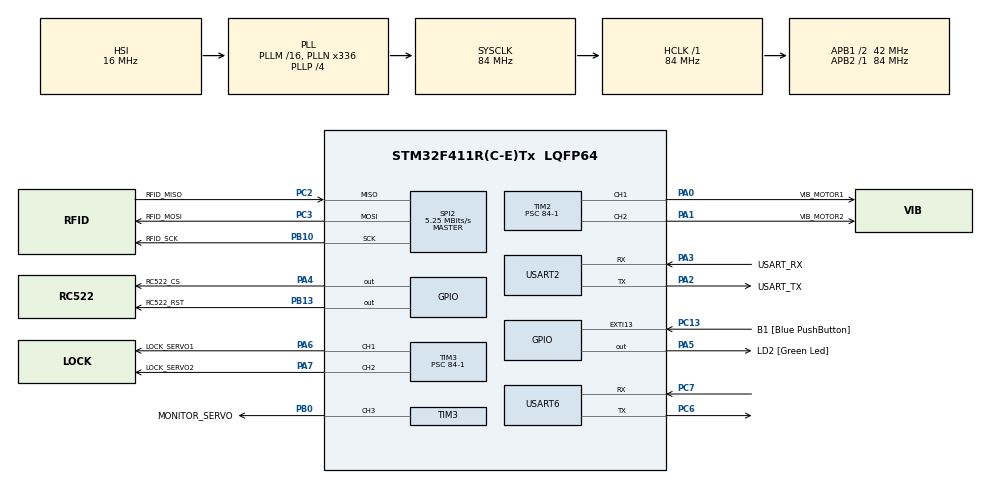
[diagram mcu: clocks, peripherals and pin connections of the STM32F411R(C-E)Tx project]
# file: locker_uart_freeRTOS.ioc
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Dma.Request0=USART6_RX
Dma.Request1=USART6_TX
Dma.USART6_RX.0.Direction=DMA_PERIPH_TO_MEMORY
Dma.USART6_RX.0.FIFOMode=DMA_FIFOMODE_DISABLE
Dma.USART6_RX.0.Instance=DMA2_Stream1
Dma.USART6_RX.0.MemDataAlignment=DMA_MDATAALIGN_BYTE
Dma.USART6_RX.0.MemInc=DMA_MINC_ENABLE
Dma.USART6_RX.0.Mode=DMA_NORMAL
Dma.USART6_RX.0.PeriphDataAlignment=DMA_PDATAALIGN_BYTE
Dma.USART6_RX.0.PeriphInc=DMA_PINC_DISABLE
Dma.USART6_RX.0.Priority=DMA_PRIORITY_LOW
Dma.USART6_TX.1.Direction=DMA_MEMORY_TO_PERIPH
Dma.USART6_TX.1.FIFOMode=DMA_FIFOMODE_DISABLE
Dma.USART6_TX.1.Instance=DMA2_Stream6
Dma.USART6_TX.1.MemDataAlignment=DMA_MDATAALIGN_BYTE
Dma.USART6_TX.1.MemInc=DMA_MINC_ENABLE
Dma.USART6_TX.1.Mode=DMA_NORMAL
Dma.USART6_TX.1.PeriphDataAlignment=DMA_PDATAALIGN_BYTE
Dma.USART6_TX.1.PeriphInc=DMA_PINC_DISABLE
Dma.USART6_TX.1.Priority=DMA_PRIORITY_LOW
FREERTOS.Events01=vibEvent,Dynamic,NULL;posEvent,Dynamic,NULL
FREERTOS.Queues01=uartQueue,16,256,1,Dynamic,NULL,NULL
FREERTOS.Tasks01=UartTask,24,256,StartUartTask,Default,NULL,Dynamic,NULL,NULL;RfidTask,24,128,StartRfidTask,Default,NULL,Dynamic,NULL,NULL;VibTask,8,128,StartVibTask,Default,NULL,Dynamic,NULL,NULL;PostureTask,8,128,StartPostureTask,Default,NULL,Dynamic,NULL,NULL
FREERTOS.configUSE_NEWLIB_REENTRANT=1
Mcu.Family=STM32F4
Mcu.Name=STM32F411R(C-E)Tx
Mcu.Package=LQFP64
NVIC.DMA2_Stream1_IRQn=true\:5\:0\:false\:false\:true\:true\:false\:true\:true
NVIC.DMA2_Stream6_IRQn=true\:5\:0\:false\:false\:true\:true\:false\:true\:true
NVIC.PriorityGroup=NVIC_PRIORITYGROUP_4
NVIC.TIM1_UP_TIM10_IRQn=true\:15\:0\:false\:false\:true\:false\:false\:true\:true
NVIC.TimeBase=TIM1_UP_TIM10_IRQn
NVIC.TimeBaseIP=TIM10
NVIC.USART6_IRQn=true\:5\:0\:false\:false\:true\:true\:true\:true\:true
PA0-WKUP.GPIO_Label=VIB_MOTOR1
PA0-WKUP.Signal=S_TIM2_CH1_ETR
PA1.GPIO_Label=VIB_MOTOR2
PA1.Signal=S_TIM2_CH2
PA13.GPIO_Label=TMS
PA13.Mode=Serial_Wire
PA13.Signal=SYS_JTMS-SWDIO
PA14.GPIO_Label=TCK
PA14.Mode=Serial_Wire
PA14.Signal=SYS_JTCK-SWCLK
PA2.GPIO_Label=USART_TX
PA2.Mode=Asynchronous
PA2.Signal=USART2_TX
PA3.GPIO_Label=USART_RX
PA3.Mode=Asynchronous
PA3.Signal=USART2_RX
PA4.GPIO_Label=RC522_CS
PA4.Signal=GPIO_Output
PA5.GPIO_Label=LD2 [Green Led]
PA5.Signal=GPIO_Output
PA6.GPIO_Label=LOCK_SERVO1
PA6.Signal=S_TIM3_CH1
PA7.GPIO_Label=LOCK_SERVO2
PA7.Signal=S_TIM3_CH2
PB0.GPIO_Label=MONITOR_SERVO
PB0.Signal=S_TIM3_CH3
PB10.GPIO_Label=RFID_SCK
PB10.Mode=Full_Duplex_Master
PB10.Signal=SPI2_SCK
PB13.GPIO_Label=RC522_RST
PB13.Signal=GPIO_Output
PB3.GPIO_Label=SWO
PB3.Signal=SYS_JTDO-SWO
PC13-ANTI_TAMP.GPIO_Label=B1 [Blue PushButton]
PC13-ANTI_TAMP.GPIO_ModeDefaultEXTI=GPIO_MODE_IT_FALLING
PC13-ANTI_TAMP.Signal=GPXTI13
PC14-OSC32_IN.Signal=RCC_OSC32_IN
PC15-OSC32_OUT.Signal=RCC_OSC32_OUT
PC2.GPIO_Label=RFID_MISO
PC2.Mode=Full_Duplex_Master
PC2.Signal=SPI2_MISO
PC3.GPIO_Label=RFID_MOSI
PC3.Mode=Full_Duplex_Master
PC3.Signal=SPI2_MOSI
PC6.Mode=Asynchronous
PC6.Signal=USART6_TX
PC7.Mode=Asynchronous
PC7.Signal=USART6_RX
PH0\ -\ OSC_IN.Signal=RCC_OSC_IN
PH1\ -\ OSC_OUT.Signal=RCC_OSC_OUT
ProjectManager.HeapSize=0x200
ProjectManager.StackSize=0x400
ProjectManager.TargetToolchain=STM32CubeIDE
RCC.48MHZClocksFreq_Value=84000000
RCC.AHBFreq_Value=84000000
RCC.APB1CLKDivider=RCC_HCLK_DIV2
RCC.APB1Freq_Value=42000000
RCC.APB1TimFreq_Value=84000000
RCC.APB2Freq_Value=84000000
RCC.APB2TimFreq_Value=84000000
RCC.CortexFreq_Value=84000000
RCC.FLatency-AdvancedSettings=FLASH_LATENCY_2
RCC.HCLKFreq_Value=84000000
RCC.HSE_VALUE=8000000
RCC.HSI_VALUE=16000000
RCC.LSE_VALUE=32768
RCC.PLLN=336
RCC.PLLP=RCC_PLLP_DIV4
RCC.SYSCLKFreq_VALUE=84000000
RCC.SYSCLKSource=RCC_SYSCLKSOURCE_PLLCLK
RCC.VCOOutputFreq_Value=336000000
SH.S_TIM2_CH1_ETR.0=TIM2_CH1,PWM Generation1 CH1
SH.S_TIM2_CH2.0=TIM2_CH2,PWM Generation2 CH2
SH.S_TIM3_CH1.0=TIM3_CH1,PWM Generation1 CH1
SH.S_TIM3_CH2.0=TIM3_CH2,PWM Generation2 CH2
SH.S_TIM3_CH3.0=TIM3_CH3,PWM Generation3 CH3
SPI2.BaudRatePrescaler=SPI_BAUDRATEPRESCALER_8
SPI2.CalculateBaudRate=5.25 MBits/s
SPI2.Direction=SPI_DIRECTION_2LINES
SPI2.Mode=SPI_MODE_MASTER
SPI2.VirtualType=VM_MASTER
TIM2.Channel-PWM\ Generation1\ CH1=TIM_CHANNEL_1
TIM2.Channel-PWM\ Generation2\ CH2=TIM_CHANNEL_2
TIM2.Period=1000-1
TIM2.Prescaler=84-1
TIM3.Channel-PWM\ Generation1\ CH1=TIM_CHANNEL_1
TIM3.Channel-PWM\ Generation2\ CH2=TIM_CHANNEL_2
TIM3.Channel-PWM\ Generation3\ CH3=TIM_CHANNEL_3
TIM3.Period=20000-1
TIM3.Prescaler=84-1
USART2.VirtualMode=VM_ASYNC
USART6.VirtualMode=VM_ASYNC
VP_FREERTOS_VS_CMSIS_V2.Mode=CMSIS_V2
VP_SYS_VS_tim10.Mode=TIM10
board=NUCLEO-F411RE

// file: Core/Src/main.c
/* USER CODE BEGIN Header */
/**
  ******************************************************************************
  * @file           : main.c
  * @brief          : Main program body
  ******************************************************************************
  * @attention
  *
  * Copyright (c) 2025 STMicroelectronics.
  * All rights reserved.
  *
  * This software is licensed under terms that can be found in the LICENSE file
  * in the root directory of this software component.
  * If no LICENSE file comes with this software, it is provided AS-IS.
  *
  ******************************************************************************
  */
/* USER CODE END Header */
#include "main.h"
#include "cmsis_os.h"

/* USER CODE BEGIN Includes */
#include <stdio.h>
#include <string.h>
#include "mfrc522.h"

/* USER CODE END Includes */

/* USER CODE BEGIN PD */
#ifdef __GNUC__
/* With GCC, small printf (option LD Linker->Libraries->Small printf
   set to 'Yes') calls __io_putchar() */
#define PUTCHAR_PROTOTYPE int __io_putchar(int ch)
#else
#define PUTCHAR_PROTOTYPE int fputc(int ch, FILE *f)
#endif /* __GNUC__ */

/* USER CODE END PD */

SPI_HandleTypeDef hspi2;

TIM_HandleTypeDef htim2;
TIM_HandleTypeDef htim3;

UART_HandleTypeDef huart2;
UART_HandleTypeDef huart6;
DMA_HandleTypeDef hdma_usart6_rx;
DMA_HandleTypeDef hdma_usart6_tx;

/* Definitions for UartTask */
osThreadId_t UartTaskHandle;
const osThreadAttr_t UartTask_attributes = {
  .name = "UartTask",
  .stack_size = 256 * 4,
  .priority = (osPriority_t) osPriorityNormal,
};
/* Definitions for RfidTask */
osThreadId_t RfidTaskHandle;
const osThreadAttr_t RfidTask_attributes = {
  .name = "RfidTask",
  .stack_size = 128 * 4,
  .priority = (osPriority_t) osPriorityNormal,
};
/* Definitions for VibTask */
osThreadId_t VibTaskHandle;
const osThreadAttr_t VibTask_attributes = {
  .name = "VibTask",
  .stack_size = 128 * 4,
  .priority = (osPriority_t) osPriorityLow,
};
/* Definitions for PostureTask */
osThreadId_t PostureTaskHandle;
const osThreadAttr_t PostureTask_attributes = {
  .name = "PostureTask",
  .stack_size = 128 * 4,
  .priority = (osPriority_t) osPriorityLow,
};
/* Definitions for uartQueue */
osMessageQueueId_t uartQueueHandle;
const osMessageQueueAttr_t uartQueue_attributes = {
  .name = "uartQueue"
};
/* Definitions for vibEvent */
osEventFlagsId_t vibEventHandle;
const osEventFlagsAttr_t vibEvent_attributes = {
  .name = "vibEvent"
};
/* Definitions for posEvent */
osEventFlagsId_t posEventHandle;
const osEventFlagsAttr_t posEvent_attributes = {
  .name = "posEvent"
};
/* USER CODE BEGIN PV */
#define RX_BUF_SIZE 256
#define TX_BUF_SIZE 256
#define ARR_CNT 4

#define VIB_ON (0x01U)

#define POSTURE_BAD (0x01U)
#define POSTURE_OK (0x02U)

uint8_t rxBuf[RX_BUF_SIZE];

volatile uint8_t rx_ch;
volatile uint8_t rx_index;
uint8_t uart6_flag = 0;
uint8_t uart6_rx_len = 0;
volatile uint8_t vib_flag = 0;	// 진동 기능 flag
volatile uint8_t vib_repeat = 0;	// 패턴 반복 횟수
static volatile uint8_t old = 0;
char msg_temp[RX_BUF_SIZE];
char* msg = msg_temp;

// RFID
uint8_t cardID[5];
char uid_str[16];
static volatile int authentication_flag = 0;
static volatile int auth_start_time = -1; // 인증 시작 시점의 tim3Sec 저장
static uint8_t card_present = 0;

//uint8_t status;
//uint8_t str[16];
uint8_t sNum[5];

char uid_msg[TX_BUF_SIZE];

/* USER CODE END PV */

void SystemClock_Config(void);
static void MX_GPIO_Init(void);
static void MX_DMA_Init(void);
static void MX_USART2_UART_Init(void);
static void MX_USART6_UART_Init(void);
static void MX_TIM3_Init(void);
static void MX_TIM2_Init(void);
static void MX_SPI2_Init(void);
void StartUartTask(void *argument);
void StartRfidTask(void *argument);
void StartVibTask(void *argument);
void StartPostureTask(void *argument);

/* USER CODE BEGIN PFP */
void processMessage(char *msg);
void servo_unlock(void);
void servo_lock(void);
void send_status(const char *status);
void Motor_SetDutyPercent(uint8_t percent);
int Vib_PulsePattern(void);
void servo_setAngle(uint8_t angle);

/* USER CODE END PFP */

/* USER CODE BEGIN 0 */

/* 들어오는 메시지 처리 */
void processMessage(char* msg)
{
#if 1
	/*=== 문자열 파싱 ===*/
	int i = 0;
	char * pToken;
	char * pArray[ARR_CNT]={0};

	printf("Original Received : %s\r\n", msg);

	pToken = strtok(msg,":");
	while(pToken != NULL)
	{
	    pArray[i] = pToken;
	    if(++i >= ARR_CNT)
	      break;
	    pToken = strtok(NULL,":");
	}
	if(!strcmp(pArray[2],"DRAWER"))
	{
	 	if(!strcmp(pArray[3],"UNLOCK"))
	  	{
	  		printf(">>>>>debug : unlock\r\n");
			servo_unlock();		// 서랍 잠금해제
			send_status("unlocked success\n");	// 상태 회신 : 잠금해제 성공
	  	}
		else if(!strcmp(pArray[3],"LOCK"))
		{
			printf(">>>>>debug : lock\r\n");
			servo_lock();		// 서랍 잠금
			send_status("locked success\n");	// 상태 회신 : 잠금 성공
		}
	}
	if(!strcmp(pArray[2],"SLP"))
	{
	 	if(!strcmp(pArray[3],"ON"))
	  	{
	  		printf(">>>>>debug : sleeping \r\n");
		    osEventFlagsSet(vibEventHandle, VIB_ON);	// vibEventHandle에 VIB_ON 이벤트 발생
	  	}
		else if(!strcmp(pArray[3],"OFF"))
		{
			printf(">>>>>debug : No sleeping \r\n");
		}
	}
	if(!strcmp(pArray[2],"POSTURE"))
	{
	 	if(!strcmp(pArray[3],"BAD"))
	  	{
	  		printf(">>>>>debug : bad posture \r\n");
	  		printf("Running monitor tilt...\r\n");
	  		osEventFlagsSet(posEventHandle, POSTURE_BAD);	// posEventHandle에 POSTURE_BAD 이벤트 발생
	  	}
		else if(!strcmp(pArray[3],"OK"))
		{
			printf(">>>>>debug : good posture \r\n");
			printf("Running monitor reset...\r\n");
			osEventFlagsSet(posEventHandle, POSTURE_OK);	// posEventHandle에 POSTURE_OK 이벤트 발생
		}
	}
#endif
#if 0
	if(strcmp(msg, "unlock") == 0)
	{
		servo_unlock();		// 서랍 잠금해제
		send_status("unlocked success\n");	// 상태 회신 : 잠금해제 성공
	}
	else if(strcmp(msg, "lock") == 0)
	{
		servo_lock();		// 서랍 잠금
		send_status("locked success\n");	// 상태 회신 : 잠금 성공
	}
	else if(strcmp(msg, "sleeping") == 0)
	{
	    printf("Running Vibration...\r\n");
	    osEventFlagsSet(vibEventHandle, VIB_ON);	// vibEventHandle에 VIB_ON 이벤트 발생
	}

	else if(strcmp(msg, "2") == 0)		// 좋은 자세일 때
	{
		printf("Running monitor reset...\r\n");
		osEventFlagsSet(posEventHandle, POSTURE_OK);	// posEventHandle에 POSTURE_OK 이벤트 발생
	}

	else if(strcmp(msg, "1") == 0)		// 나쁜 자세일 때
	{
		printf("Running monitor tilt...\r\n");
		osEventFlagsSet(posEventHandle, POSTURE_BAD);	// posEventHandle에 POSTURE_BAD 이벤트 발생
	}
	else
	{
		printf(">>> unknown \r\n");
	}
#endif
}

/* 메시지 전송 */
void send_status(const char *status)
{
	HAL_UART_Transmit(&huart6, (uint8_t*)status, strlen(status), HAL_MAX_DELAY);
}

/*================== 잠금서랍 기능 ==================*/
void servo_unlock(void)
{
	// PWM 제어 코드 (0 도)
	__HAL_TIM_SET_COMPARE(&htim3, TIM_CHANNEL_1, 500);	// 0도
	__HAL_TIM_SET_COMPARE(&htim3, TIM_CHANNEL_2, 1500);	// 90도
	printf("0도\r\n");

}

void servo_lock(void)
{
	// PWM 제어 코드 ( 90 도)
	__HAL_TIM_SET_COMPARE(&htim3, TIM_CHANNEL_1, 1500);	// 90도
	__HAL_TIM_SET_COMPARE(&htim3, TIM_CHANNEL_2, 500);	// 0도
	printf("90도\r\n");
}

/*================== 졸음 진동 기능 ==================*/
// 모터 듀티 설정 (percent 0~100)
void Motor_SetDutyPercent(uint8_t percent) {
    if (percent > 100) percent = 100;
    uint32_t arr = __HAL_TIM_GET_AUTORELOAD(&htim2); // 499
    uint32_t ccr = (arr + 1) * percent / 100;
    __HAL_TIM_SET_COMPARE(&htim2, TIM_CHANNEL_1, ccr);
    __HAL_TIM_SET_COMPARE(&htim2, TIM_CHANNEL_2, ccr);
}

// 진동 패턴 구현
#if 0
int Vib_PulsePattern(void) {
	static uint32_t last_tick = 0;
	static int state = 0;
	static int pulse_count = 0;

	uint32_t now = HAL_GetTick();

	switch(state)
	{
		case 0:		// 모터 on
			Motor_SetDutyPercent(70);	// 70%로 모터 동작
			last_tick = now;	// 현재 시간을 저장
			pulse_count = 0;	// 강약 반복 횟수
			state = 1;
			break;
		case 1:		// on 500ms -> off
			if(now - last_tick >= 500)	// 500ms 넘어가면
			{
				Motor_SetDutyPercent(0);	// 0%로 모터 동작
				last_tick = now;
				state = 2;
			}
			break;
		case 2:		// off 300 ms -> on
		{
			if(now - last_tick >= 300)	// 300ms 넘어가면
			{
				pulse_count++;
				if(pulse_count < 3)
				{
					Motor_SetDutyPercent(50);	// 50%로 모터 동작
					last_tick = now;
					state = 1;
				}
				else		// 강약 반복 3번 넘어가면
				{
					state = 0;
					return 1;
				}
			}
			break;
		}
	}
	return 0;

//    for (int i=0;i<3;i++) {
//        Motor_SetDutyPercent(50); HAL_Delay(500);
//        Motor_SetDutyPercent(0);  HAL_Delay(100);
//    }
}
#endif

/*================== 모니터 조절 기능 ==================*/
void servo_setAngle(uint8_t angle)
{
    /* angle: 0~180 범위 */
    if (angle > 180) angle = 180;

    /*
     * PWM 주기 설정값
     * PSC = 84-1, ARR = 20000-1 → 1 tick = 1 us, 주기 = 20 ms (50Hz)
     * Servo: 0도 ≈ 1ms 펄스, 180도 ≈ 2ms 펄스
     * 즉, CCR = 1000 ~ 2000 (us 단위)
     */
    uint16_t pulse = 1000 + ((angle * 1000) / 180);

    __HAL_TIM_SET_COMPARE(&htim3, TIM_CHANNEL_3, pulse);
}

/* USER CODE END 0 */

int main(void)
{

  /* USER CODE BEGIN 1 */
//	uint8_t status;
//	uint8_t str[16];

  /* USER CODE END 1 */

  /* MCU Configuration--------------------------------------------------------*/

  /* Reset of all peripherals, Initializes the Flash interface and the Systick. */
  HAL_Init();

  /* Configure the system clock */
  SystemClock_Config();

  /* Initialize all configured peripherals */
  MX_GPIO_Init();
  MX_DMA_Init();
  MX_USART2_UART_Init();
  MX_USART6_UART_Init();
  MX_TIM3_Init();
  MX_TIM2_Init();
  MX_SPI2_Init();
  /* USER CODE BEGIN 2 */
  printf("main start()!!\r\n");

  if(HAL_TIM_PWM_Start(&htim3, TIM_CHANNEL_1) != HAL_OK)
	  Error_Handler();
  if(HAL_TIM_PWM_Start(&htim3, TIM_CHANNEL_2) != HAL_OK)
	  Error_Handler();
  if(HAL_TIM_PWM_Start(&htim3, TIM_CHANNEL_3) != HAL_OK)
	  Error_Handler();
  if(HAL_TIM_PWM_Start(&htim2, TIM_CHANNEL_1) != HAL_OK)
	  Error_Handler();
  if(HAL_TIM_PWM_Start(&htim2, TIM_CHANNEL_2) != HAL_OK)
	  Error_Handler();

  /*=== 인터럽트 방식 ===*/
//  HAL_UART_Receive_IT(&huart6, (uint8_t*)&rx_ch, 1);

  /*=== DMA 방식 ===*/
//  __HAL_UART_ENABLE_IT(&huart6, UART_IT_IDLE);	// IDLE 인터럽트 활성화
//  HAL_UART_Receive_DMA(&huart6, (uint8_t*)rxBuf, RX_BUF_SIZE);
// 	-> 옛날 방식

  HAL_UARTEx_ReceiveToIdle_DMA(&huart6, rxBuf, RX_BUF_SIZE);

  /*=== RFID ===*/
	MFRC522_Init();                               // RC522 초기화

  /* USER CODE END 2 */

  /* Init scheduler */
  osKernelInitialize();

  /* Create the queue(s) */
  /* creation of uartQueue */
  uartQueueHandle = osMessageQueueNew (16, 256, &uartQueue_attributes);

  /* Create the thread(s) */
  /* creation of UartTask */
  UartTaskHandle = osThreadNew(StartUartTask, NULL, &UartTask_attributes);

  /* creation of RfidTask */
  RfidTaskHandle = osThreadNew(StartRfidTask, NULL, &RfidTask_attributes);

  /* creation of VibTask */
  VibTaskHandle = osThreadNew(StartVibTask, NULL, &VibTask_attributes);

  /* creation of PostureTask */
  PostureTaskHandle = osThreadNew(StartPostureTask, NULL, &PostureTask_attributes);

  /* Create the event(s) */
  /* creation of vibEvent */
  vibEventHandle = osEventFlagsNew(&vibEvent_attributes);

  /* creation of posEvent */
  posEventHandle = osEventFlagsNew(&posEvent_attributes);

  /* Start scheduler */
  osKernelStart();

  /* We should never get here as control is now taken by the scheduler */

  /* Infinite loop */
  while (1)
  {
  }
}

void SystemClock_Config(void)
{
  RCC_OscInitTypeDef RCC_OscInitStruct = {0};
  RCC_ClkInitTypeDef RCC_ClkInitStruct = {0};

  /** Configure the main internal regulator output voltage
  */
  __HAL_RCC_PWR_CLK_ENABLE();
  __HAL_PWR_VOLTAGESCALING_CONFIG(PWR_REGULATOR_VOLTAGE_SCALE1);

  /** Initializes the RCC Oscillators according to the specified parameters
  * in the RCC_OscInitTypeDef structure.
  */
  RCC_OscInitStruct.OscillatorType = RCC_OSCILLATORTYPE_HSI;
  RCC_OscInitStruct.HSIState = RCC_HSI_ON;
  RCC_OscInitStruct.HSICalibrationValue = RCC_HSICALIBRATION_DEFAULT;
  RCC_OscInitStruct.PLL.PLLState = RCC_PLL_ON;
  RCC_OscInitStruct.PLL.PLLSource = RCC_PLLSOURCE_HSI;
  RCC_OscInitStruct.PLL.PLLM = 16;
  RCC_OscInitStruct.PLL.PLLN = 336;
  RCC_OscInitStruct.PLL.PLLP = RCC_PLLP_DIV4;
  RCC_OscInitStruct.PLL.PLLQ = 4;
  if (HAL_RCC_OscConfig(&RCC_OscInitStruct) != HAL_OK)
  {
    Error_Handler();
  }

  /** Initializes the CPU, AHB and APB buses clocks
  */
  RCC_ClkInitStruct.ClockType = RCC_CLOCKTYPE_HCLK|RCC_CLOCKTYPE_SYSCLK
                              |RCC_CLOCKTYPE_PCLK1|RCC_CLOCKTYPE_PCLK2;
  RCC_ClkInitStruct.SYSCLKSource = RCC_SYSCLKSOURCE_PLLCLK;
  RCC_ClkInitStruct.AHBCLKDivider = RCC_SYSCLK_DIV1;
  RCC_ClkInitStruct.APB1CLKDivider = RCC_HCLK_DIV2;
  RCC_ClkInitStruct.APB2CLKDivider = RCC_HCLK_DIV1;

  if (HAL_RCC_ClockConfig(&RCC_ClkInitStruct, FLASH_LATENCY_2) != HAL_OK)
  {
    Error_Handler();
  }
}

static void MX_SPI2_Init(void)
{

  /* SPI2 parameter configuration*/
  hspi2.Instance = SPI2;
  hspi2.Init.Mode = SPI_MODE_MASTER;
  hspi2.Init.Direction = SPI_DIRECTION_2LINES;
  hspi2.Init.DataSize = SPI_DATASIZE_8BIT;
  hspi2.Init.CLKPolarity = SPI_POLARITY_LOW;
  hspi2.Init.CLKPhase = SPI_PHASE_1EDGE;
  hspi2.Init.NSS = SPI_NSS_SOFT;
  hspi2.Init.BaudRatePrescaler = SPI_BAUDRATEPRESCALER_8;
  hspi2.Init.FirstBit = SPI_FIRSTBIT_MSB;
  hspi2.Init.TIMode = SPI_TIMODE_DISABLE;
  hspi2.Init.CRCCalculation = SPI_CRCCALCULATION_DISABLE;
  hspi2.Init.CRCPolynomial = 10;
  if (HAL_SPI_Init(&hspi2) != HAL_OK)
  {
    Error_Handler();
  }

}

static void MX_TIM2_Init(void)
{

  TIM_MasterConfigTypeDef sMasterConfig = {0};
  TIM_OC_InitTypeDef sConfigOC = {0};

  htim2.Instance = TIM2;
  htim2.Init.Prescaler = 84-1;
  htim2.Init.CounterMode = TIM_COUNTERMODE_UP;
  htim2.Init.Period = 1000-1;
  htim2.Init.ClockDivision = TIM_CLOCKDIVISION_DIV1;
  htim2.Init.AutoReloadPreload = TIM_AUTORELOAD_PRELOAD_DISABLE;
  if (HAL_TIM_PWM_Init(&htim2) != HAL_OK)
  {
    Error_Handler();
  }
  sMasterConfig.MasterOutputTrigger = TIM_TRGO_RESET;
  sMasterConfig.MasterSlaveMode = TIM_MASTERSLAVEMODE_DISABLE;
  if (HAL_TIMEx_MasterConfigSynchronization(&htim2, &sMasterConfig) != HAL_OK)
  {
    Error_Handler();
  }
  sConfigOC.OCMode = TIM_OCMODE_PWM1;
  sConfigOC.Pulse = 0;
  sConfigOC.OCPolarity = TIM_OCPOLARITY_HIGH;
  sConfigOC.OCFastMode = TIM_OCFAST_DISABLE;
  if (HAL_TIM_PWM_ConfigChannel(&htim2, &sConfigOC, TIM_CHANNEL_1) != HAL_OK)
  {
    Error_Handler();
  }
  if (HAL_TIM_PWM_ConfigChannel(&htim2, &sConfigOC, TIM_CHANNEL_2) != HAL_OK)
  {
    Error_Handler();
  }
  HAL_TIM_MspPostInit(&htim2);

}

static void MX_TIM3_Init(void)
{

  TIM_MasterConfigTypeDef sMasterConfig = {0};
  TIM_OC_InitTypeDef sConfigOC = {0};

  htim3.Instance = TIM3;
  htim3.Init.Prescaler = 84-1;
  htim3.Init.CounterMode = TIM_COUNTERMODE_UP;
  htim3.Init.Period = 20000-1;
  htim3.Init.ClockDivision = TIM_CLOCKDIVISION_DIV1;
  htim3.Init.AutoReloadPreload = TIM_AUTORELOAD_PRELOAD_DISABLE;
  if (HAL_TIM_PWM_Init(&htim3) != HAL_OK)
  {
    Error_Handler();
  }
  sMasterConfig.MasterOutputTrigger = TIM_TRGO_RESET;
  sMasterConfig.MasterSlaveMode = TIM_MASTERSLAVEMODE_DISABLE;
  if (HAL_TIMEx_MasterConfigSynchronization(&htim3, &sMasterConfig) != HAL_OK)
  {
    Error_Handler();
  }
  sConfigOC.OCMode = TIM_OCMODE_PWM1;
  sConfigOC.Pulse = 0;
  sConfigOC.OCPolarity = TIM_OCPOLARITY_HIGH;
  sConfigOC.OCFastMode = TIM_OCFAST_DISABLE;
  if (HAL_TIM_PWM_ConfigChannel(&htim3, &sConfigOC, TIM_CHANNEL_1) != HAL_OK)
  {
    Error_Handler();
  }
  if (HAL_TIM_PWM_ConfigChannel(&htim3, &sConfigOC, TIM_CHANNEL_2) != HAL_OK)
  {
    Error_Handler();
  }
  if (HAL_TIM_PWM_ConfigChannel(&htim3, &sConfigOC, TIM_CHANNEL_3) != HAL_OK)
  {
    Error_Handler();
  }
  HAL_TIM_MspPostInit(&htim3);

}

static void MX_USART2_UART_Init(void)
{

  huart2.Instance = USART2;
  huart2.Init.BaudRate = 115200;
  huart2.Init.WordLength = UART_WORDLENGTH_8B;
  huart2.Init.StopBits = UART_STOPBITS_1;
  huart2.Init.Parity = UART_PARITY_NONE;
  huart2.Init.Mode = UART_MODE_TX_RX;
  huart2.Init.HwFlowCtl = UART_HWCONTROL_NONE;
  huart2.Init.OverSampling = UART_OVERSAMPLING_16;
  if (HAL_UART_Init(&huart2) != HAL_OK)
  {
    Error_Handler();
  }

}

static void MX_USART6_UART_Init(void)
{

  huart6.Instance = USART6;
  huart6.Init.BaudRate = 115200;
  huart6.Init.WordLength = UART_WORDLENGTH_8B;
  huart6.Init.StopBits = UART_STOPBITS_1;
  huart6.Init.Parity = UART_PARITY_NONE;
  huart6.Init.Mode = UART_MODE_TX_RX;
  huart6.Init.HwFlowCtl = UART_HWCONTROL_NONE;
  huart6.Init.OverSampling = UART_OVERSAMPLING_16;
  if (HAL_UART_Init(&huart6) != HAL_OK)
  {
    Error_Handler();
  }

}

static void MX_DMA_Init(void)
{

  /* DMA controller clock enable */
  __HAL_RCC_DMA2_CLK_ENABLE();

  /* DMA interrupt init */
  /* DMA2_Stream1_IRQn interrupt configuration */
  HAL_NVIC_SetPriority(DMA2_Stream1_IRQn, 5, 0);
  HAL_NVIC_EnableIRQ(DMA2_Stream1_IRQn);
  /* DMA2_Stream6_IRQn interrupt configuration */
  HAL_NVIC_SetPriority(DMA2_Stream6_IRQn, 5, 0);
  HAL_NVIC_EnableIRQ(DMA2_Stream6_IRQn);

}

static void MX_GPIO_Init(void)
{
  GPIO_InitTypeDef GPIO_InitStruct = {0};

  /* GPIO Ports Clock Enable */
  __HAL_RCC_GPIOC_CLK_ENABLE();
  __HAL_RCC_GPIOH_CLK_ENABLE();
  __HAL_RCC_GPIOA_CLK_ENABLE();
  __HAL_RCC_GPIOB_CLK_ENABLE();

  /*Configure GPIO pin Output Level */
  HAL_GPIO_WritePin(GPIOA, RC522_CS_Pin|LD2_Pin, GPIO_PIN_RESET);

  /*Configure GPIO pin Output Level */
  HAL_GPIO_WritePin(RC522_RST_GPIO_Port, RC522_RST_Pin, GPIO_PIN_RESET);

  /*Configure GPIO pin : B1_Pin */
  GPIO_InitStruct.Pin = B1_Pin;
  GPIO_InitStruct.Mode = GPIO_MODE_IT_FALLING;
  GPIO_InitStruct.Pull = GPIO_NOPULL;
  HAL_GPIO_Init(B1_GPIO_Port, &GPIO_InitStruct);

  /*Configure GPIO pins : RC522_CS_Pin LD2_Pin */
  GPIO_InitStruct.Pin = RC522_CS_Pin|LD2_Pin;
  GPIO_InitStruct.Mode = GPIO_MODE_OUTPUT_PP;
  GPIO_InitStruct.Pull = GPIO_NOPULL;
  GPIO_InitStruct.Speed = GPIO_SPEED_FREQ_LOW;
  HAL_GPIO_Init(GPIOA, &GPIO_InitStruct);

  /*Configure GPIO pin : RC522_RST_Pin */
  GPIO_InitStruct.Pin = RC522_RST_Pin;
  GPIO_InitStruct.Mode = GPIO_MODE_OUTPUT_PP;
  GPIO_InitStruct.Pull = GPIO_NOPULL;
  GPIO_InitStruct.Speed = GPIO_SPEED_FREQ_LOW;
  HAL_GPIO_Init(RC522_RST_GPIO_Port, &GPIO_InitStruct);

}

/* USER CODE BEGIN 4 */
/**
  * @brief  Retargets the C library printf function to the USART.
  * @param  None
  * @retval None
  */
PUTCHAR_PROTOTYPE
{
  /* Place your implementation of fputc here */
  /* e.g. write a character to the USART6 and Loop until the end of transmission */
  HAL_UART_Transmit(&huart2, (uint8_t *)&ch, 1, 0xFFFF);

  return ch;
}

/* === UART 메시지 인터럽트로 처리 === */
//void HAL_UART_RxCpltCallback(UART_HandleTypeDef *huart)
//{
//	if(huart->Instance == USART6)	// USART6에서 인터럽트 발생했을 때 처리
//	{
//		if(rx_ch == '\n')
//		 {
//			uart6_flag = 1;
//		}
//		else
//		{
//			if(rx_index < RX_BUF_SIZE -1)
//			{
//				rxBuf[rx_index++] = rx_ch;
//			}
//		}
//
//		HAL_UART_Receive_IT(&huart6, (uint8_t*)&rx_ch, 1);	// 다시 수신 요청
//	}
//}

/* === UART DMA로 처리 (옛날 방식) === */
// void USART6_IRQHandler(void)		// stm32f4xx_it.c안에 구현
// {
//		if (__HAL_UART_GET_FLAG(&huart6, UART_FLAG_IDLE)) {
//			__HAL_UART_CLEAR_IDLEFLAG(&huart6);
//			  uart6_flag = 1;  // main 루프에서 처리
//		}
//		HAL_UART_IRQHandler(&huart6);
// }

/* === UART DMA로 처리 === */
void HAL_UARTEx_RxEventCallback(UART_HandleTypeDef *huart, uint16_t Size)
{
	if(huart->Instance == USART6)
	{
//		  memcpy(msg_temp, &rxBuf, Size-1);
//	      processMessage(msg_temp);					// msg_temp에 따라 기능 처리
//	      memset(msg_temp, 0, sizeof(msg_temp));
//
//	      HAL_UARTEx_ReceiveToIdle_DMA(&huart6, rxBuf, RX_BUF_SIZE);

		memcpy(msg_temp, &rxBuf, Size-1);	// '\n' 제거
		msg_temp[Size - 1] = '\0';			// 널문자 추가
		osMessageQueuePut(uartQueueHandle, msg_temp, 0, 0);		// FreeRTOS 큐로 메시지 전달
		//memset(msg_temp, 0, sizeof(msg_temp));
		HAL_UARTEx_ReceiveToIdle_DMA(&huart6, rxBuf, RX_BUF_SIZE);	// IDLE인터럽트 다시 활성화

	}
}

/* USER CODE END 4 */

void StartUartTask(void *argument)
{
  /* USER CODE BEGIN 5 */
	char recvBuf[RX_BUF_SIZE];
  /* Infinite loop */
  for(;;)
  {
	  	// 큐에 데이터가 없으면 block 상태가 됨 (Task가 실행을 멈추고 대기함)
	      if (osMessageQueueGet(uartQueueHandle, recvBuf, NULL, osWaitForever) == osOK)
	      {
	          processMessage(recvBuf);  // 큐에서 메시지 꺼내서 processMessage(메시지처리) 함수 호출
	      }
    osDelay(1);
  }
  /* USER CODE END 5 */
}

void StartRfidTask(void *argument)
{
  /* USER CODE BEGIN StartRfidTask */
	uint8_t status;
	uint8_t str[16];

  /* Infinite loop */
  for(;;)
  {
	  //========= RFID 체크 ===============
	  		status = MFRC522_Request(PICC_REQIDL, str);		// 주기적으로 카드 감지 요청

	  		if (status == MI_OK && card_present == 0)   // 카드가 감지됨
	  		{
	  		    status = MFRC522_Anticoll(str);			// 카드 UID 읽기: str[0] ~ [4]에 저장
	  		    if (status == MI_OK)   // UID 읽기 성공
	  		    {
	  		    	card_present = 1;	// 카드 감지된 상태

	  		        // UID를 문자열로 변환
	  	            sprintf(uid_str, "%02X%02X%02X%02X", str[0], str[1], str[2], str[3]);
	  	            printf("Card UID: %s\r\n", uid_str);

	  	            // Pi로 전송할 메시지 생성 및 전송
	  	            sprintf(uid_msg, "STM32:none:RFID:%s\n", uid_str);
	  	            printf("uid_msg : %s\r\n", uid_msg);
	  	            send_status(uid_msg);

	  	            vTaskDelay(pdMS_TO_TICKS(3000));	// task 3초 대기(block) 후 다시 카드 감지
	  	            card_present = 0;	// 카드 인식되지 않은 상태
	  		    }
	  		}
    osDelay(1);
  }
  /* USER CODE END StartRfidTask */
}

void StartVibTask(void *argument)
{
  /* USER CODE BEGIN StartVibTask */
  /* Infinite loop */
  for(;;)
  {
	  // VIB_ON 이벤트가 올 때까지 Task가 무한 대기
	  osEventFlagsWait(vibEventHandle, VIB_ON, osFlagsWaitAny, osWaitForever);

	  // 이벤트가 들어오면 아래 코드 실행
	  send_status("vibration started\n");	// 상태 회신 : 진동 시작
	  for(int r = 0; r < 5; r++)		// r = 진동 패턴 반복 횟수
	  {
		  for(int i = 0; i < 3; i++)
		  {
			  Motor_SetDutyPercent(50);
			  vTaskDelay(pdMS_TO_TICKS(500));
			  Motor_SetDutyPercent(0);
			  vTaskDelay(pdMS_TO_TICKS(100));
			  printf(">> Debug : vibration \r\n");
		  }
		  printf(">> vib_repeat : %d \r\n", r);
	  }
	  send_status("vibration finished\n");	// 상태 회신 : 진동 성공

    osDelay(1);
  }
  /* USER CODE END StartVibTask */
}

void StartPostureTask(void *argument)
{
  /* USER CODE BEGIN StartPostureTask */
	uint32_t posture_flag;
  /* Infinite loop */
  for(;;)
  {
	  posture_flag = osEventFlagsWait(posEventHandle, POSTURE_BAD | POSTURE_OK, osFlagsWaitAny, osWaitForever);

	  if(posture_flag & POSTURE_BAD)
	  {
		  __HAL_TIM_SET_COMPARE(&htim3, TIM_CHANNEL_3, 2200);	// 모니터 각도 조절 서보모터 제어
		  send_status("monitor tilted up\n");
	  }
	  if(posture_flag & POSTURE_OK)
	  {
		  __HAL_TIM_SET_COMPARE(&htim3, TIM_CHANNEL_3, 2500);	// 모니터 각도 조절 원상복구
		  send_status("monitor reset\n");
	  }

	  osDelay(1);
  }
  /* USER CODE END StartPostureTask */
}

void HAL_TIM_PeriodElapsedCallback(TIM_HandleTypeDef *htim)
{
  if (htim->Instance == TIM10)
  {
    HAL_IncTick();
  }
}

void Error_Handler(void)
{
  __disable_irq();
  while (1)
  {
  }
}
